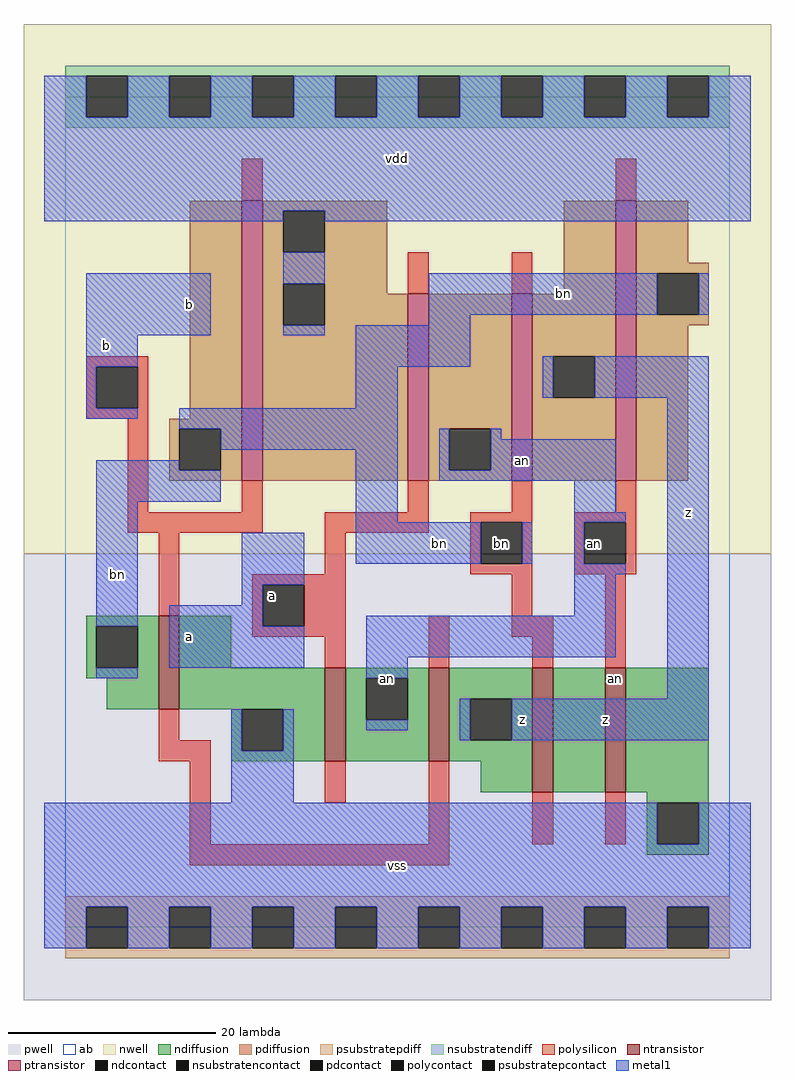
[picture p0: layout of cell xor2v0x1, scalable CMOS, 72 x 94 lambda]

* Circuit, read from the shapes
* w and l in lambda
.subckt xor2v0x1 a an b bn vdd vss z
M1 vss b bn vss nfet w=9 l=2
M2 an a vss vss nfet w=9 l=2
M3 z b an vss nfet w=9 l=2
M4 n1 bn z vss nfet w=12 l=2
M5 vss an n1 vss nfet w=12 l=2
M6 vdd b bn vdd pfet w=27 l=2
M7 an a vdd vdd pfet w=18 l=2
M8 z bn an vdd pfet w=18 l=2
M9 bn an z vdd pfet w=27 l=2
.ends

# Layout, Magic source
magic
tech scmos
<< ab >>
rect 0 0 64 80
<< pwell >>
rect -4 -7 68 36
<< nwell >>
rect -4 36 68 87
<< polysilicon >>
rect 17 70 19 74
rect 53 70 55 74
rect 2 54 8 55
rect 2 50 3 54
rect 7 50 8 54
rect 2 49 8 50
rect 6 40 8 49
rect 33 61 35 65
rect 43 61 45 65
rect 17 40 19 43
rect 33 40 35 43
rect 43 40 45 43
rect 53 40 55 43
rect 6 38 19 40
rect 25 38 35 40
rect 39 39 45 40
rect 9 30 11 38
rect 25 34 27 38
rect 39 35 40 39
rect 44 35 45 39
rect 39 34 45 35
rect 49 39 55 40
rect 49 35 50 39
rect 54 35 55 39
rect 49 34 55 35
rect 18 33 27 34
rect 18 29 19 33
rect 23 29 27 33
rect 43 30 45 34
rect 18 28 27 29
rect 25 25 27 28
rect 35 25 37 30
rect 43 28 47 30
rect 45 25 47 28
rect 52 25 54 34
rect 9 18 11 21
rect 9 16 14 18
rect 12 8 14 16
rect 25 12 27 16
rect 35 8 37 16
rect 45 8 47 13
rect 52 8 54 13
rect 12 6 37 8
<< ndiffusion >>
rect 2 29 9 30
rect 2 25 3 29
rect 7 25 9 29
rect 2 24 9 25
rect 4 21 9 24
rect 11 25 16 30
rect 11 21 25 25
rect 16 17 17 21
rect 21 17 25 21
rect 16 16 25 17
rect 27 24 35 25
rect 27 20 29 24
rect 33 20 35 24
rect 27 16 35 20
rect 37 22 45 25
rect 37 18 39 22
rect 43 18 45 22
rect 37 16 45 18
rect 40 13 45 16
rect 47 13 52 25
rect 54 13 62 25
rect 56 12 62 13
rect 56 8 57 12
rect 61 8 62 12
rect 56 7 62 8
<< pdiffusion >>
rect 12 49 17 70
rect 10 48 17 49
rect 10 44 11 48
rect 15 44 17 48
rect 10 43 17 44
rect 19 69 31 70
rect 19 65 21 69
rect 25 65 31 69
rect 19 62 31 65
rect 19 58 21 62
rect 25 61 31 62
rect 48 61 53 70
rect 25 58 33 61
rect 19 43 33 58
rect 35 48 43 61
rect 35 44 37 48
rect 41 44 43 48
rect 35 43 43 44
rect 45 55 53 61
rect 45 51 47 55
rect 51 51 53 55
rect 45 43 53 51
rect 55 64 60 70
rect 55 63 62 64
rect 55 59 57 63
rect 61 59 62 63
rect 55 58 62 59
rect 55 43 60 58
<< metal1 >>
rect -2 78 2 82
rect 6 78 10 82
rect 14 78 18 82
rect 22 78 26 82
rect 30 78 34 82
rect 38 78 42 82
rect 46 78 50 82
rect 54 78 58 82
rect 62 78 66 82
rect -2 69 66 78
rect -2 68 21 69
rect 25 68 66 69
rect 2 57 14 63
rect 21 62 25 65
rect 35 59 57 63
rect 61 59 62 63
rect 35 58 39 59
rect 21 57 25 58
rect 2 54 7 57
rect 2 50 3 54
rect 28 54 39 58
rect 28 50 32 54
rect 46 51 47 55
rect 51 51 62 55
rect 2 49 7 50
rect 11 48 32 50
rect 3 44 11 45
rect 15 46 32 48
rect 3 41 15 44
rect 3 29 7 41
rect 28 39 32 46
rect 36 44 37 48
rect 41 47 42 48
rect 41 44 53 47
rect 36 43 53 44
rect 49 40 53 43
rect 49 39 54 40
rect 17 33 23 38
rect 28 35 40 39
rect 44 35 45 39
rect 49 35 50 39
rect 17 31 19 33
rect 10 29 19 31
rect 49 34 54 35
rect 49 30 53 34
rect 10 25 23 29
rect 29 26 53 30
rect 3 24 7 25
rect 29 24 33 26
rect 16 17 17 21
rect 21 17 22 21
rect 58 22 62 51
rect 29 19 33 20
rect 38 18 39 22
rect 43 18 62 22
rect 16 12 22 17
rect -2 8 57 12
rect 61 8 66 12
rect -2 2 66 8
rect -2 -2 2 2
rect 6 -2 10 2
rect 14 -2 18 2
rect 22 -2 26 2
rect 30 -2 34 2
rect 38 -2 42 2
rect 46 -2 50 2
rect 54 -2 58 2
rect 62 -2 66 2
<< ntransistor >>
rect 9 21 11 30
rect 25 16 27 25
rect 35 16 37 25
rect 45 13 47 25
rect 52 13 54 25
<< ptransistor >>
rect 17 43 19 70
rect 33 43 35 61
rect 43 43 45 61
rect 53 43 55 70
<< polycontact >>
rect 3 50 7 54
rect 40 35 44 39
rect 50 35 54 39
rect 19 29 23 33
<< ndcontact >>
rect 3 25 7 29
rect 17 17 21 21
rect 29 20 33 24
rect 39 18 43 22
rect 57 8 61 12
<< pdcontact >>
rect 11 44 15 48
rect 21 65 25 69
rect 21 58 25 62
rect 37 44 41 48
rect 47 51 51 55
rect 57 59 61 63
<< psubstratepcontact >>
rect 2 -2 6 2
rect 10 -2 14 2
rect 18 -2 22 2
rect 26 -2 30 2
rect 34 -2 38 2
rect 42 -2 46 2
rect 50 -2 54 2
rect 58 -2 62 2
<< nsubstratencontact >>
rect 2 78 6 82
rect 10 78 14 82
rect 18 78 22 82
rect 26 78 30 82
rect 34 78 38 82
rect 42 78 46 82
rect 50 78 54 82
rect 58 78 62 82
<< psubstratepdiff >>
rect 0 2 64 3
rect 0 -2 2 2
rect 6 -2 10 2
rect 14 -2 18 2
rect 22 -2 26 2
rect 30 -2 34 2
rect 38 -2 42 2
rect 46 -2 50 2
rect 54 -2 58 2
rect 62 -2 64 2
rect 0 -3 64 -2
<< nsubstratendiff >>
rect 0 82 64 83
rect 0 78 2 82
rect 6 78 10 82
rect 14 78 18 82
rect 22 78 26 82
rect 30 78 34 82
rect 38 78 42 82
rect 46 78 50 82
rect 54 78 58 82
rect 62 78 64 82
rect 0 77 64 78
<< labels >>
rlabel polycontact 42 37 42 37 6 bn
rlabel ntransistor 53 24 53 24 6 an
rlabel metal1 5 34 5 34 6 bn
rlabel metal1 4 56 4 56 6 b
rlabel metal1 12 28 12 28 6 a
rlabel polycontact 20 32 20 32 6 a
rlabel metal1 12 60 12 60 6 b
rlabel metal1 32 6 32 6 6 vss
rlabel metal1 31 24 31 24 6 an
rlabel metal1 32 74 32 74 6 vdd
rlabel metal1 44 20 44 20 6 z
rlabel metal1 36 37 36 37 6 bn
rlabel metal1 52 20 52 20 6 z
rlabel polycontact 51 37 51 37 6 an
rlabel metal1 44 45 44 45 6 an
rlabel metal1 60 40 60 40 6 z
rlabel metal1 48 61 48 61 6 bn
<< end >>
